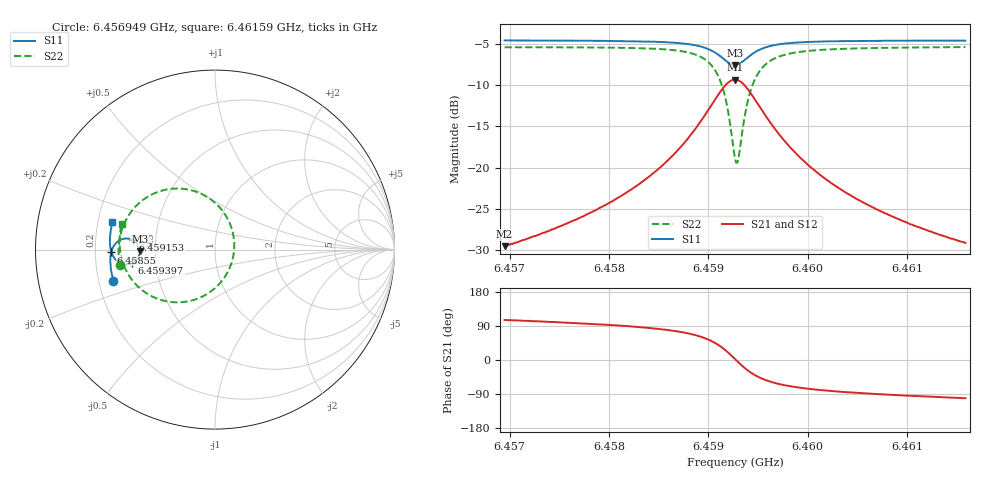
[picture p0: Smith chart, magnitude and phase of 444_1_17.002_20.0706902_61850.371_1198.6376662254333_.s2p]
#  HZ  S  RI  R  50.00
! Rohde & Schwarz Vector Network Analyzer
! Rohde-Schwarz,ZNB20-2Port,1311601062101988,3.16
! Created: UTC 3/20/2024, 11:11:58 PM
! freq[Hz]  re:S11  im:S11  re:S21  im:S21  re:S12  im:S12  re:S22  im:S22
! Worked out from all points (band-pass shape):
!   401 points, 6.456949 GHz to 6.46159 GHz, reference 50 ohm
!   highest |S21| = -9.30 dB at 6.459269 GHz (marker M1); lowest = -29.6 dB at 6.456949 GHz (marker M2)
!   |S21| within 3 dB of the highest: 6.459038 GHz to 6.459501 GHz (463.5 kHz wide, 0.00718 % of centre)
!   lowest |S11| = -7.5 dB at 6.459269 GHz (marker M3), VSWR 2.45, Z = 20.4 - j0.525 ohm
!   |S11| at or under -10 dB: nowhere
!   |S22| runs from -19.4 to -5.4 dB; largest |S21 - S12| = 0.013
!   S11 on the Smith chart (normalised r, x): 6.456949 GHz: 0.26, -0.14; 6.45855 GHz: 0.27, -0.01; 6.459153 GHz: 0.37, +0.05; 6.459397 GHz: 0.37, -0.07; 6.46159 GHz: 0.26, +0.12
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6.4569489e9  -0.566 -0.1743  -0.00899 0.0321  -0.00719 0.032  -0.5312 -0.0872
6.4577262e9  -0.5804 -0.1065  -0.00568 0.0498  -0.00322 0.0493  -0.5373 0.00302
6.4581439e9  -0.5835 -0.0651  -7.98e-05 0.0685  0.00308 0.0672  -0.5298 0.0683
6.4585035e9  -0.5798 -0.0224  0.0139 0.0978  0.0177 0.0951  -0.5044 0.1479
6.4585499e9  -0.5784 -0.016  0.0171 0.1031  0.0213 0.1003  -0.4982 0.161
6.4587587e9  -0.5663 0.0158  0.043 0.1347  0.0473 0.1299  -0.4498 0.2324
6.4589096e9  -0.5453 0.042  0.0853 0.1649  0.0886 0.1583  -0.3718 0.2963
6.4590604e9  -0.4996 0.0618  0.1763 0.1838  0.1773 0.1764  -0.2053 0.3402
6.4591532e9  -0.4554 0.0518  0.2655 0.1532  0.2658 0.1473  -0.0399 0.2909
6.4591996e9  -0.4343 0.0332  0.309 0.1107  0.3102 0.1055  0.0424 0.2157
6.4592692e9  -0.4197 -0.0106  0.3423 0.0146  0.3458 0.00776  0.1071 0.0373
6.4592808e9  -0.4199 -0.0185  0.3421 -0.00295  0.3459 -0.0106  0.1069 0.004
6.459304e9  -0.4234 -0.0339  0.3366 -0.0373  0.3404 -0.0465  0.096 -0.0612
6.4593504e9  -0.4388 -0.0598  0.3084 -0.0969  0.3105 -0.1085  0.0391 -0.1736
6.4593968e9  -0.4607 -0.0761  0.2669 -0.1375  0.2659 -0.1508  -0.0451 -0.2479
6.4594896e9  -0.5037 -0.0826  0.1827 -0.1687  0.1766 -0.1801  -0.2123 -0.294
6.4596405e9  -0.5472 -0.0621  0.0954 -0.1551  0.0871 -0.1612  -0.3786 -0.2451
6.4598029e9  -0.5686 -0.0345  0.051 -0.1275  0.0434 -0.1303  -0.4584 -0.1736
6.4600465e9  -0.5811 0.000993  0.0222 -0.0963  0.0164 -0.0968  -0.5063 -0.0918
6.460383e9  -0.5855 0.041  0.00653 -0.0703  0.00249 -0.0699  -0.527 -0.0151
6.4608238e9  -0.5836 0.0851  -0.00141 -0.0514  -0.00427 -0.0505  -0.5316 0.0552
6.4615895e9  -0.5711 0.1529  -0.00642 -0.0343  -0.00824 -0.0333  -0.5201 0.145
